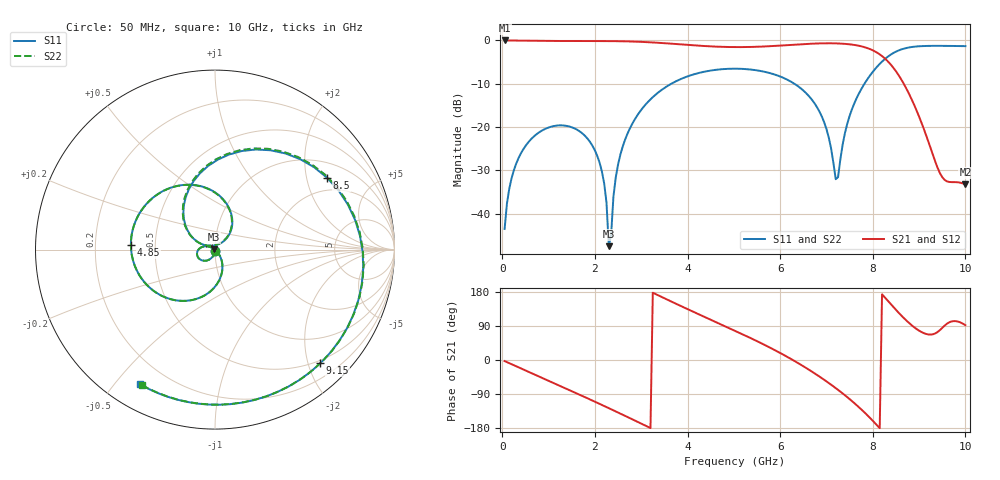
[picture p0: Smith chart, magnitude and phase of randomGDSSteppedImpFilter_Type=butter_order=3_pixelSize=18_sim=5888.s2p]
! freq	dB(S11)	phase(S11)	dB(S12)	phase(S12)
!  dB(S21)	phase(S21)	dB(S22)	phase(S22)
!S-par simulation data
#  GHz  S  DB  R 50
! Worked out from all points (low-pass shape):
!   200 points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, 50 MHz to 10 GHz, reference 50 ohm
!   highest |S21| = -0.01 dB at 50 MHz (marker M1); lowest = -33.3 dB at 10 GHz (marker M2)
!   |S21| within 3 dB of the highest: start of sweep to 8.12 GHz
!   lowest |S11| = -47.5 dB at 2.3 GHz (marker M3), VSWR 1.01, Z = 49.6 + j0.137 ohm
!   |S11| at or under -10 dB: start of sweep to 3.651 GHz; 6.306 GHz to 7.822 GHz (1.516 GHz wide, 21.5 % of centre)
!   |S22| runs from -47.7 to -1.2 dB; largest |S21 - S12| = 0
!   S11 on the Smith chart (normalised r, x): 50 MHz: 1.00, -0.01; 4.85 GHz: 0.36, +0.02; 8.5 GHz: 1.50, +2.66; 9.15 GHz: 0.44, -2.21; 10 GHz: 0.10, -0.58
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0.05  -43.58 -90.7  -0.01 -2.8  -0.01 -2.8  -43.58 -90.7
0.2  -31.86 -100.5  -0.02 -11.1  -0.02 -11.1  -31.86 -100.5
0.55  -23.70 -120.6  -0.06 -30.3  -0.06 -30.3  -23.70 -120.6
1.75  -21.69 173.4  -0.14 -96.1  -0.14 -96.1  -21.69 173.3
2.15  -30.24 151.8  -0.15 -118.5  -0.15 -118.5  -30.24 151.3
2.3  -47.55 160.8  -0.15 -127.1  -0.15 -127.1  -47.68 153.5
2.45  -31.66 -48.1  -0.17 -135.7  -0.17 -135.7  -31.67 -47.4
2.6  -24.54 -56.0  -0.19 -144.4  -0.19 -144.4  -24.54 -55.6
3.4  -11.76 -102.1  -0.56 168.7  -0.56 168.7  -11.76 -102.0
4.85  -6.57 177.0  -1.51 87.0  -1.51 87.0  -6.57 177.2
5.05  -6.53 165.9  -1.54 75.8  -1.54 75.8  -6.53 166.1
6.05  -8.55 106.3  -1.16 15.3  -1.16 15.3  -8.55 106.7
6.7  -13.90 61.9  -0.74 -31.7  -0.74 -31.7  -13.89 62.7
7.2  -32.07 80.5  -0.68 -74.1  -0.68 -74.1  -31.65 82.3
7.5  -17.44 152.9  -0.90 -103.1  -0.90 -103.1  -17.43 153.4
7.9  -8.72 113.4  -1.83 -147.8  -1.83 -147.8  -8.71 114.6
8.35  -3.56 53.8  -5.11 152.8  -5.11 152.8  -3.55 55.3
8.5  -2.59 32.6  -7.12 132.4  -7.12 132.4  -2.59 34.2
8.8  -1.59 -7.4  -12.72 95.9  -12.72 95.9  -1.59 -5.9
9.15  -1.28 -47.2  -21.85 68.8  -21.85 68.8  -1.28 -45.9
9.5  -1.25 -80.2  -31.60 84.7  -31.60 84.7  -1.26 -79.2
10  -1.32 -119.0  -33.29 91.9  -33.29 91.9  -1.33 -118.4
